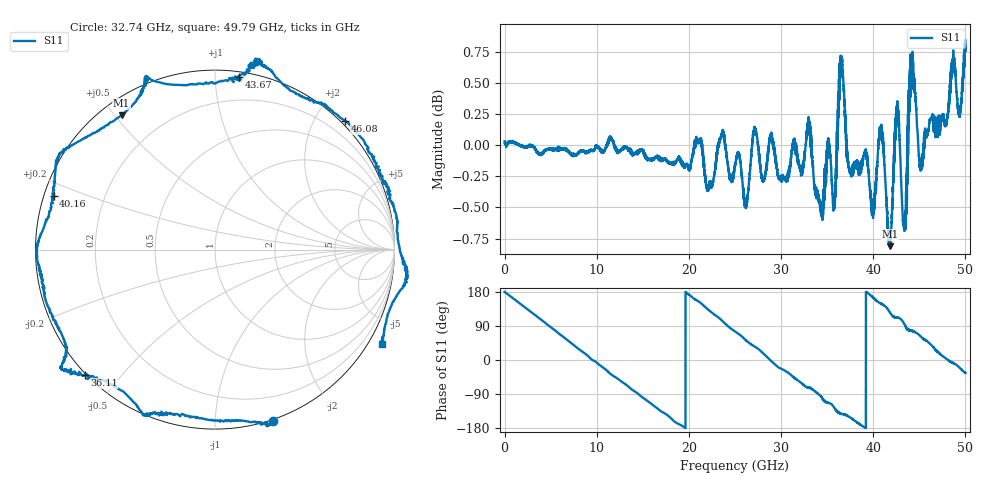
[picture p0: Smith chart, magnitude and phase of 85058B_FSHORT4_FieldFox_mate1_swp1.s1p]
!Created with skrf (http://scikit-rf.org).
# Hz S RI R 50.0
!freq ReS11 ImS11
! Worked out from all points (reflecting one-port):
!   10000 points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, 5.3 MHz to 50 GHz, reference 50 ohm
!   lowest |S11| = -0.8 dB at 41.83 GHz (marker M1), VSWR 21.43, Z = 2.97 + j26 ohm
!   phase of S11 starts at 180 deg and turns -934 deg over the sweep
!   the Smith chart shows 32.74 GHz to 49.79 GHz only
!   S11 on the Smith chart (normalised r, x): 32.74 GHz: -0.01, -1.40; 36.11 GHz: -0.00, -0.40; 40.16 GHz: 0.03, +0.16; 43.67 GHz: 0.03, +1.15; 46.08 GHz: -0.07, +2.43; 49.79 GHz: -0.50, -3.63
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5299970  -1.004 0.00185
1.575291e9  -0.8728 0.489
3.34028e9  -0.4685 0.8792
6.255262e9  0.4495 0.8899
9.390244e9  0.9947 0.0415
1.250522e10  0.5919 -0.7992
1.534021e10  -0.2562 -0.9557
1.875519e10  -0.9626 -0.2175
2.129017e10  -0.8713 0.4988
2.352016e10  -0.2709 0.9713
2.500515e10  0.2474 0.9503
2.725014e10  0.8431 0.563
2.870013e10  1.001 0.0471
3.125511e10  0.7267 -0.6854
3.27351e10  0.3251 -0.9525
3.520509e10  -0.4022 -0.9155
3.610508e10  -0.7263 -0.697
3.750507e10  -0.8574 -0.4618
4.015506e10  -0.8995 0.3004
4.104505e10  -0.8325 0.5565
4.182505e10  -0.5205 0.7475
4.292504e10  -0.3278 0.9357
4.367004e10  0.1364 0.9614
4.375504e10  0.1815 0.9963
4.607502e10  0.7262 0.717
4.847501e10  1.069 -0.1058
4.979e10  0.9251 -0.5407
5e10  0.911 -0.6201
